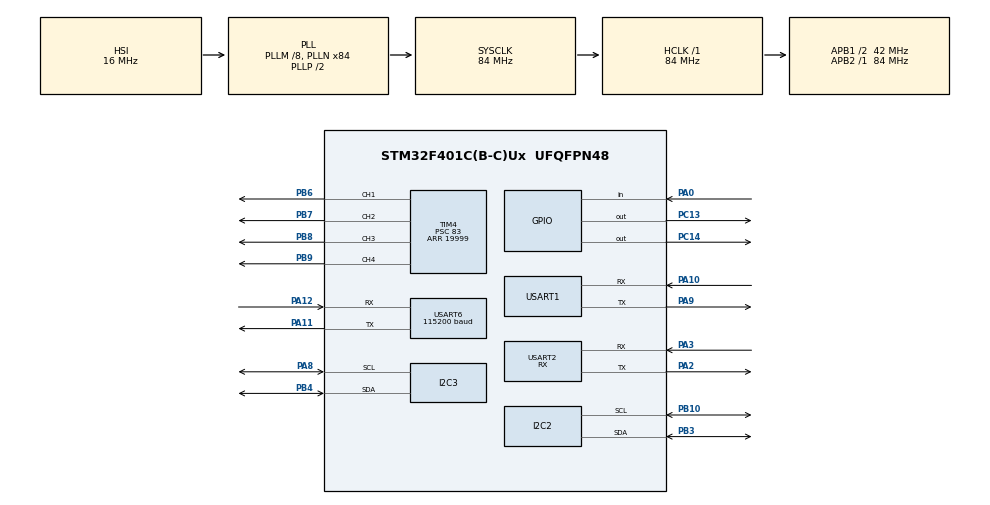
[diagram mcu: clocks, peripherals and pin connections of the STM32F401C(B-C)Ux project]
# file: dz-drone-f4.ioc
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Dma.Request0=USART2_RX
Dma.USART2_RX.0.Direction=DMA_PERIPH_TO_MEMORY
Dma.USART2_RX.0.FIFOMode=DMA_FIFOMODE_DISABLE
Dma.USART2_RX.0.Instance=DMA1_Stream5
Dma.USART2_RX.0.MemDataAlignment=DMA_MDATAALIGN_BYTE
Dma.USART2_RX.0.MemInc=DMA_MINC_ENABLE
Dma.USART2_RX.0.Mode=DMA_CIRCULAR
Dma.USART2_RX.0.PeriphDataAlignment=DMA_PDATAALIGN_BYTE
Dma.USART2_RX.0.PeriphInc=DMA_PINC_DISABLE
Dma.USART2_RX.0.Priority=DMA_PRIORITY_HIGH
I2C2.I2C_Mode=I2C_Fast
Mcu.Family=STM32F4
Mcu.Name=STM32F401C(B-C)Ux
Mcu.Package=UFQFPN48
NVIC.DMA1_Stream5_IRQn=true\:0\:0\:false\:false\:true\:false\:true
NVIC.PriorityGroup=NVIC_PRIORITYGROUP_4
NVIC.TIM1_UP_TIM10_IRQn=true\:15\:0\:false\:false\:true\:false\:true
NVIC.USART2_IRQn=true\:0\:0\:false\:false\:true\:true\:true
PA0-WKUP.Signal=GPIO_Input
PA10.Mode=Asynchronous
PA10.Signal=USART1_RX
PA11.Mode=Asynchronous
PA11.Signal=USART6_TX
PA12.Mode=Asynchronous
PA12.Signal=USART6_RX
PA13.Mode=Serial_Wire
PA13.Signal=SYS_JTMS-SWDIO
PA14.Mode=Serial_Wire
PA14.Signal=SYS_JTCK-SWCLK
PA2.Mode=Asynchronous
PA2.Signal=USART2_TX
PA3.Mode=Asynchronous
PA3.Signal=USART2_RX
PA8.Mode=I2C
PA8.Signal=I2C3_SCL
PA9.Mode=Asynchronous
PA9.Signal=USART1_TX
PB10.GPIO_Pu=GPIO_PULLUP
PB10.Mode=I2C
PB10.Signal=I2C2_SCL
PB3.GPIO_Pu=GPIO_PULLUP
PB3.Mode=I2C
PB3.Signal=I2C2_SDA
PB4.Mode=I2C
PB4.Signal=I2C3_SDA
PB6.Signal=S_TIM4_CH1
PB7.Signal=S_TIM4_CH2
PB8.Signal=S_TIM4_CH3
PB9.Signal=S_TIM4_CH4
PC13-ANTI_TAMP.PinState=GPIO_PIN_RESET
PC13-ANTI_TAMP.Signal=GPIO_Output
PC14-OSC32_IN.Signal=GPIO_Output
PH0\ -\ OSC_IN.Mode=HSE-External-Oscillator
PH0\ -\ OSC_IN.Signal=RCC_OSC_IN
PH1\ -\ OSC_OUT.Mode=HSE-External-Oscillator
PH1\ -\ OSC_OUT.Signal=RCC_OSC_OUT
ProjectManager.HeapSize=0x200
ProjectManager.StackSize=0x400
ProjectManager.TargetToolchain=STM32CubeIDE
RCC.48MHZClocksFreq_Value=42000000
RCC.AHBFreq_Value=84000000
RCC.APB1CLKDivider=RCC_HCLK_DIV2
RCC.APB1Freq_Value=42000000
RCC.APB1TimFreq_Value=84000000
RCC.APB2Freq_Value=84000000
RCC.APB2TimFreq_Value=84000000
RCC.CortexFreq_Value=84000000
RCC.HCLKFreq_Value=84000000
RCC.HSE_VALUE=25000000
RCC.HSI_VALUE=16000000
RCC.LSE_VALUE=32768
RCC.PLLM=8
RCC.PLLN=84
RCC.SYSCLKFreq_VALUE=84000000
RCC.SYSCLKSource=RCC_SYSCLKSOURCE_PLLCLK
RCC.VCOOutputFreq_Value=168000000
SH.S_TIM4_CH1.0=TIM4_CH1,PWM Generation1 CH1
SH.S_TIM4_CH2.0=TIM4_CH2,PWM Generation2 CH2
SH.S_TIM4_CH3.0=TIM4_CH3,PWM Generation3 CH3
SH.S_TIM4_CH4.0=TIM4_CH4,PWM Generation4 CH4
TIM10.Period=839
TIM10.Prescaler=999
TIM4.Channel-PWM\ Generation1\ CH1=TIM_CHANNEL_1
TIM4.Channel-PWM\ Generation2\ CH2=TIM_CHANNEL_2
TIM4.Channel-PWM\ Generation3\ CH3=TIM_CHANNEL_3
TIM4.Channel-PWM\ Generation4\ CH4=TIM_CHANNEL_4
TIM4.Period=19999
TIM4.Prescaler=83
USART1.VirtualMode=VM_ASYNC
USART2.Mode=MODE_RX
USART2.VirtualMode=VM_ASYNC
USART6.BaudRate=115200
USART6.VirtualMode=VM_ASYNC
VP_TIM10_VS_ClockSourceINT.Mode=Enable_Timer
board=custom

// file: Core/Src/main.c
/* USER CODE BEGIN Header */
/**
 ******************************************************************************
 * @file           : main.c
 * @brief          : Main program body
 ******************************************************************************
 * @attention
 *
 * Copyright (c) 2022 STMicroelectronics.
 * All rights reserved.
 *
 * This software is licensed under terms that can be found in the LICENSE file
 * in the root directory of this software component.
 * If no LICENSE file comes with this software, it is provided AS-IS.
 *
 ******************************************************************************
 */

/* USER CODE END Header */
#include "main.h"

/* USER CODE BEGIN Includes */
#include "stdbool.h"
#include "ibus.h"
#include "motor.h"
#include "bno055_stm32.h"
#include "math.h"
#include "dz_pid.h"
#include "bmp388.h"
#include "string.h"
/* USER CODE END Includes */

/* USER CODE BEGIN PD */
#define IBUS_PORT (&huart1)
/* USER CODE END PD */

I2C_HandleTypeDef hi2c2;
I2C_HandleTypeDef hi2c3;

TIM_HandleTypeDef htim4;
TIM_HandleTypeDef htim10;

UART_HandleTypeDef huart1;
UART_HandleTypeDef huart2;
UART_HandleTypeDef huart6;
DMA_HandleTypeDef hdma_usart2_rx;

/* USER CODE BEGIN PV */

uint16_t rcData[16];
uint8_t rxJetson[10], rxAutonom[10];
struct motors motors;
int16_t yaw, pitch, roll, throttle, thr = 1100;
int16_t gyro, acc, mag;
int16_t rc_yaw, rc_pitch, rc_roll;
bno055_vector_t BNO55_str;
bno055_calibration_state_t bno_state;
bno055_calibration_data_t bno_data;
char controlData[30], rxData[30];
double rc_pid = 0;
int16_t yaw_ref, pitch_ref, roll_ref;
int32_t deneme = 0;
int16_t yaw_pid, roll_pid, pitch_pid, thr_pid;
BMP388_t bmpdata;
int16_t yaw_temp;
bool isAutonom = false;
int16_t rise;
/* USER CODE END PV */

void SystemClock_Config(void);
static void MX_GPIO_Init(void);
static void MX_USART2_UART_Init(void);
static void MX_TIM4_Init(void);
static void MX_I2C2_Init(void);
static void MX_USART6_UART_Init(void);
static void MX_TIM10_Init(void);
static void MX_I2C3_Init(void);
static void MX_DMA_Init(void);
static void MX_USART1_UART_Init(void);
/* USER CODE BEGIN PFP */

uint16_t map(uint16_t x, uint16_t in_min, uint16_t in_max, uint16_t out_min,
		uint16_t out_max) {
	return (x - in_min) * (out_max - out_min) / (in_max - in_min) + out_min;
}

void ledOn() {
	HAL_GPIO_WritePin(GPIOC, GPIO_PIN_13, ENABLE);
}

void ledOff() {
	HAL_GPIO_WritePin(GPIOC, GPIO_PIN_13, RESET);
}

void ledOnBlue() {
	HAL_GPIO_WritePin(GPIOC, GPIO_PIN_14, ENABLE);

}

void ledOffBlue() {
	HAL_GPIO_WritePin(GPIOC, GPIO_PIN_14, RESET);

}

void yawCalculate(int16_t *yaw) {
	*yaw = *yaw % 360;

	if (*yaw > 180) {
		*yaw -= 360;
	} else if (*yaw < -180) {
		*yaw += 360;
	}
}

void escCalibration() {

	while (1) {
		ibus_read(IBUS_PORT, rcData);

		if (rcData[3] > 1800) {
			ledOn();
		} else {
			ledOff();
		}

		motors.motor1 = rcData[3];
		motors.motor2 = rcData[3];
		motors.motor3 = rcData[3];
		motors.motor4 = rcData[3];

		if ((rcData[0] != FAILSAFE_OFF)) {
			motors.motor1 = 1000;
			motors.motor2 = 1000;
			motors.motor3 = 1000;
			motors.motor4 = 1000;
		}

		motor_Write(&motors);

		HAL_Delay(20);
	}

}

/* USER CODE END PFP */

int main(void)
{

  /* MCU Configuration--------------------------------------------------------*/

  /* Reset of all peripherals, Initializes the Flash interface and the Systick. */

	HAL_Init();

  /* Configure the system clock */
  SystemClock_Config();

  /* Initialize all configured peripherals */
  MX_GPIO_Init();
  MX_DMA_Init();

  MX_USART2_UART_Init();
  MX_TIM4_Init();
  MX_I2C2_Init();
  MX_USART6_UART_Init();
  MX_TIM10_Init();
  MX_I2C3_Init();
  MX_USART1_UART_Init();
  /* USER CODE BEGIN 2 */
	// yukarıdaki alanda cubemx önce usart2'yi init ediyor sonra dma'yı init ediyordu bu yanlış.
	// doğrusu benim kullandığım olacak.

	HAL_UART_Receive_DMA(&huart2, rxJetson, 10);

	motors.timx = &htim4;
	motor_Init(&motors);

	while (BMP388_init()) {
		HAL_GPIO_WritePin(GPIOC, GPIO_PIN_14, RESET);

		HAL_Delay(300);

		HAL_GPIO_WritePin(GPIOC, GPIO_PIN_14, ENABLE);

		HAL_Delay(300);
	}

	bno055_assignI2C(&hi2c2);

	while (bno055_setup()) {

		ledOff();
		HAL_Delay(200);
		ledOn();
		HAL_Delay(200);

	}

	bno055_enableExternalCrystal();
	bno055_opmode_t moded;
	moded = bno055_getOperationMode();
	moded = BNO055_OPERATION_MODE_NDOF;
	bno055_setOperationMode(moded);
	moded = bno055_getOperationMode();

	while (1) {
		bno_state = bno055_getCalibrationState();
		if (bno_state.gyro >= 3 & bno_state.gyro < 5) { // mag >=2
			if (bno_state.mag >= 3) {
				break;
			}
			ledOnBlue();
			HAL_Delay(1000);
		}

		HAL_Delay(1000);
	}

	ledOn();
	HAL_Delay(5000);
	ledOff();
	ledOffBlue();

	for (uint8_t var = 0; var < 20; ++var) {
		BNO55_str = bno055_getVectorEuler();
		roll_ref = BNO55_str.y;
		pitch_ref = BNO55_str.z;
		yaw_ref = BNO55_str.x;
		yawCalculate(&yaw_ref);
		HAL_Delay(100);
	}

  /* USER CODE END 2 */

  /* Infinite loop */
  /* USER CODE BEGIN WHILE */
	while (1) {

		ibus_read(IBUS_PORT, rcData);
		throttle = rcData[3];

		if ((rcData[7] > 1600) && (rcData[7] < 2100)) {
			isAutonom = true;
			rise = throttle - 1000;
		} else {
			isAutonom = false;
		}

		rc_roll = (1500 - rcData[1]) / 25;

		rc_pitch = ((1500 - rcData[2]) / 25) * -1;

		rc_yaw = (int16_t) ((1500 - rcData[4]) / 5);
		rc_yaw *= -1;

		BNO55_str = bno055_getVectorEuler();
		yaw = ((int16_t) BNO55_str.x) - yaw_ref;
		yawCalculate(&yaw);
		roll = (int16_t) BNO55_str.y - roll_ref;
		pitch = (int16_t) BNO55_str.z - pitch_ref;

		//BMP388_Read(&bmpdata);

		sprintf(controlData, "dz-%d-%d-%d-%d-%d-%d-son \n", rc_pitch, pitch, rc_roll, roll,rc_yaw,yaw);
		//sprintf(controlData, "dz-%d-son\n", rc_pitch);s
		HAL_UART_Transmit(&huart6, controlData, 30, 10);

		if ((rcData[0] != FAILSAFE_OFF) | (throttle < 1100)) {
			HAL_TIM_Base_Stop_IT(&htim10);
			pidRollReset();
			pidPitchReset();
			pidYawReset();
			pidThrottleReset();
			motors.motor1 = 1000;
			motors.motor2 = 1000;
			motors.motor3 = 1000;
			motors.motor4 = 1000;
			motor_Write(&motors);
			ledOff();
			ledOnBlue();
			MX_USART1_UART_Init();

			//HAL_GPIO_WritePin(GPIOC, GPIO_PIN_13, ENABLE);
		}

		else {
			HAL_TIM_Base_Start_IT(&htim10);
			ledOffBlue();

		}

    /* USER CODE END WHILE */

	}
}

void SystemClock_Config(void)
{
  RCC_OscInitTypeDef RCC_OscInitStruct = {0};
  RCC_ClkInitTypeDef RCC_ClkInitStruct = {0};

  /** Configure the main internal regulator output voltage
  */
  __HAL_RCC_PWR_CLK_ENABLE();
  __HAL_PWR_VOLTAGESCALING_CONFIG(PWR_REGULATOR_VOLTAGE_SCALE2);
  /** Initializes the RCC Oscillators according to the specified parameters
  * in the RCC_OscInitTypeDef structure.
  */
  RCC_OscInitStruct.OscillatorType = RCC_OSCILLATORTYPE_HSI;
  RCC_OscInitStruct.HSIState = RCC_HSI_ON;
  RCC_OscInitStruct.HSICalibrationValue = RCC_HSICALIBRATION_DEFAULT;
  RCC_OscInitStruct.PLL.PLLState = RCC_PLL_ON;
  RCC_OscInitStruct.PLL.PLLSource = RCC_PLLSOURCE_HSI;
  RCC_OscInitStruct.PLL.PLLM = 8;
  RCC_OscInitStruct.PLL.PLLN = 84;
  RCC_OscInitStruct.PLL.PLLP = RCC_PLLP_DIV2;
  RCC_OscInitStruct.PLL.PLLQ = 4;
  if (HAL_RCC_OscConfig(&RCC_OscInitStruct) != HAL_OK)
  {
    Error_Handler();
  }
  /** Initializes the CPU, AHB and APB buses clocks
  */
  RCC_ClkInitStruct.ClockType = RCC_CLOCKTYPE_HCLK|RCC_CLOCKTYPE_SYSCLK
                              |RCC_CLOCKTYPE_PCLK1|RCC_CLOCKTYPE_PCLK2;
  RCC_ClkInitStruct.SYSCLKSource = RCC_SYSCLKSOURCE_PLLCLK;
  RCC_ClkInitStruct.AHBCLKDivider = RCC_SYSCLK_DIV1;
  RCC_ClkInitStruct.APB1CLKDivider = RCC_HCLK_DIV2;
  RCC_ClkInitStruct.APB2CLKDivider = RCC_HCLK_DIV1;

  if (HAL_RCC_ClockConfig(&RCC_ClkInitStruct, FLASH_LATENCY_2) != HAL_OK)
  {
    Error_Handler();
  }
}

static void MX_I2C2_Init(void)
{

  hi2c2.Instance = I2C2;
  hi2c2.Init.ClockSpeed = 400000;
  hi2c2.Init.DutyCycle = I2C_DUTYCYCLE_2;
  hi2c2.Init.OwnAddress1 = 0;
  hi2c2.Init.AddressingMode = I2C_ADDRESSINGMODE_7BIT;
  hi2c2.Init.DualAddressMode = I2C_DUALADDRESS_DISABLE;
  hi2c2.Init.OwnAddress2 = 0;
  hi2c2.Init.GeneralCallMode = I2C_GENERALCALL_DISABLE;
  hi2c2.Init.NoStretchMode = I2C_NOSTRETCH_DISABLE;
  if (HAL_I2C_Init(&hi2c2) != HAL_OK)
  {
    Error_Handler();
  }

}

static void MX_I2C3_Init(void)
{

  hi2c3.Instance = I2C3;
  hi2c3.Init.ClockSpeed = 100000;
  hi2c3.Init.DutyCycle = I2C_DUTYCYCLE_2;
  hi2c3.Init.OwnAddress1 = 0;
  hi2c3.Init.AddressingMode = I2C_ADDRESSINGMODE_7BIT;
  hi2c3.Init.DualAddressMode = I2C_DUALADDRESS_DISABLE;
  hi2c3.Init.OwnAddress2 = 0;
  hi2c3.Init.GeneralCallMode = I2C_GENERALCALL_DISABLE;
  hi2c3.Init.NoStretchMode = I2C_NOSTRETCH_DISABLE;
  if (HAL_I2C_Init(&hi2c3) != HAL_OK)
  {
    Error_Handler();
  }

}

static void MX_TIM4_Init(void)
{

  TIM_MasterConfigTypeDef sMasterConfig = {0};
  TIM_OC_InitTypeDef sConfigOC = {0};

  htim4.Instance = TIM4;
  htim4.Init.Prescaler = 83;
  htim4.Init.CounterMode = TIM_COUNTERMODE_UP;
  htim4.Init.Period = 19999;
  htim4.Init.ClockDivision = TIM_CLOCKDIVISION_DIV1;
  htim4.Init.AutoReloadPreload = TIM_AUTORELOAD_PRELOAD_DISABLE;
  if (HAL_TIM_PWM_Init(&htim4) != HAL_OK)
  {
    Error_Handler();
  }
  sMasterConfig.MasterOutputTrigger = TIM_TRGO_RESET;
  sMasterConfig.MasterSlaveMode = TIM_MASTERSLAVEMODE_DISABLE;
  if (HAL_TIMEx_MasterConfigSynchronization(&htim4, &sMasterConfig) != HAL_OK)
  {
    Error_Handler();
  }
  sConfigOC.OCMode = TIM_OCMODE_PWM1;
  sConfigOC.Pulse = 0;
  sConfigOC.OCPolarity = TIM_OCPOLARITY_HIGH;
  sConfigOC.OCFastMode = TIM_OCFAST_DISABLE;
  if (HAL_TIM_PWM_ConfigChannel(&htim4, &sConfigOC, TIM_CHANNEL_1) != HAL_OK)
  {
    Error_Handler();
  }
  if (HAL_TIM_PWM_ConfigChannel(&htim4, &sConfigOC, TIM_CHANNEL_2) != HAL_OK)
  {
    Error_Handler();
  }
  if (HAL_TIM_PWM_ConfigChannel(&htim4, &sConfigOC, TIM_CHANNEL_3) != HAL_OK)
  {
    Error_Handler();
  }
  if (HAL_TIM_PWM_ConfigChannel(&htim4, &sConfigOC, TIM_CHANNEL_4) != HAL_OK)
  {
    Error_Handler();
  }
  HAL_TIM_MspPostInit(&htim4);

}

static void MX_TIM10_Init(void)
{

  htim10.Instance = TIM10;
  htim10.Init.Prescaler = 999;
  htim10.Init.CounterMode = TIM_COUNTERMODE_UP;
  htim10.Init.Period = 839;
  htim10.Init.ClockDivision = TIM_CLOCKDIVISION_DIV1;
  htim10.Init.AutoReloadPreload = TIM_AUTORELOAD_PRELOAD_DISABLE;
  if (HAL_TIM_Base_Init(&htim10) != HAL_OK)
  {
    Error_Handler();
  }

}

static void MX_USART1_UART_Init(void)
{

  huart1.Instance = USART1;
  huart1.Init.BaudRate = 115200;
  huart1.Init.WordLength = UART_WORDLENGTH_8B;
  huart1.Init.StopBits = UART_STOPBITS_1;
  huart1.Init.Parity = UART_PARITY_NONE;
  huart1.Init.Mode = UART_MODE_TX_RX;
  huart1.Init.HwFlowCtl = UART_HWCONTROL_NONE;
  huart1.Init.OverSampling = UART_OVERSAMPLING_16;
  if (HAL_UART_Init(&huart1) != HAL_OK)
  {
    Error_Handler();
  }

}

static void MX_USART2_UART_Init(void)
{

  huart2.Instance = USART2;
  huart2.Init.BaudRate = 115200;
  huart2.Init.WordLength = UART_WORDLENGTH_8B;
  huart2.Init.StopBits = UART_STOPBITS_1;
  huart2.Init.Parity = UART_PARITY_NONE;
  huart2.Init.Mode = UART_MODE_RX;
  huart2.Init.HwFlowCtl = UART_HWCONTROL_NONE;
  huart2.Init.OverSampling = UART_OVERSAMPLING_16;
  if (HAL_UART_Init(&huart2) != HAL_OK)
  {
    Error_Handler();
  }

}

static void MX_USART6_UART_Init(void)
{

  huart6.Instance = USART6;
  huart6.Init.BaudRate = 115200;
  huart6.Init.WordLength = UART_WORDLENGTH_8B;
  huart6.Init.StopBits = UART_STOPBITS_1;
  huart6.Init.Parity = UART_PARITY_NONE;
  huart6.Init.Mode = UART_MODE_TX_RX;
  huart6.Init.HwFlowCtl = UART_HWCONTROL_NONE;
  huart6.Init.OverSampling = UART_OVERSAMPLING_16;
  if (HAL_UART_Init(&huart6) != HAL_OK)
  {
    Error_Handler();
  }

}

static void MX_DMA_Init(void)
{

  /* DMA controller clock enable */
  __HAL_RCC_DMA1_CLK_ENABLE();

  /* DMA interrupt init */
  /* DMA1_Stream5_IRQn interrupt configuration */
  HAL_NVIC_SetPriority(DMA1_Stream5_IRQn, 0, 0);
  HAL_NVIC_EnableIRQ(DMA1_Stream5_IRQn);

}

static void MX_GPIO_Init(void)
{
  GPIO_InitTypeDef GPIO_InitStruct = {0};

  /* GPIO Ports Clock Enable */
  __HAL_RCC_GPIOC_CLK_ENABLE();
  __HAL_RCC_GPIOH_CLK_ENABLE();
  __HAL_RCC_GPIOA_CLK_ENABLE();
  __HAL_RCC_GPIOB_CLK_ENABLE();

  /*Configure GPIO pin Output Level */
  HAL_GPIO_WritePin(GPIOC, GPIO_PIN_13|GPIO_PIN_14, GPIO_PIN_RESET);

  /*Configure GPIO pins : PC13 PC14 */
  GPIO_InitStruct.Pin = GPIO_PIN_13|GPIO_PIN_14;
  GPIO_InitStruct.Mode = GPIO_MODE_OUTPUT_PP;
  GPIO_InitStruct.Pull = GPIO_NOPULL;
  GPIO_InitStruct.Speed = GPIO_SPEED_FREQ_LOW;
  HAL_GPIO_Init(GPIOC, &GPIO_InitStruct);

  /*Configure GPIO pin : PA0 */
  GPIO_InitStruct.Pin = GPIO_PIN_0;
  GPIO_InitStruct.Mode = GPIO_MODE_INPUT;
  GPIO_InitStruct.Pull = GPIO_NOPULL;
  HAL_GPIO_Init(GPIOA, &GPIO_InitStruct);

}

/* USER CODE BEGIN 4 */

void HAL_TIM_PeriodElapsedCallback(TIM_HandleTypeDef *htim) {

	if (htim->Instance == htim10.Instance) {

		ledOn();
		roll_pid = pidRollCalculate(rc_roll, roll);
		pitch_pid = pidPitchCalculate(rc_pitch, pitch);
		yaw_pid = pidYawCalculate(rc_yaw, yaw);
		yaw_pid *= -1;

		if (isAutonom == true) {
			thr_pid = pidThrottleCalculate(rise, bmpdata.Altitude);
			thr += thr_pid;

			//throttle = thr;
		}

		motors.motor1 = (int) (throttle - pitch_pid + roll_pid - yaw_pid);
		motors.motor2 = (int) (throttle - pitch_pid - roll_pid + yaw_pid);
		motors.motor3 = (int) (throttle + pitch_pid - roll_pid - yaw_pid);
		motors.motor4 = (int) (throttle + pitch_pid + roll_pid + yaw_pid);

		if (motors.motor1 > 1800) {
			motors.motor1 = 1800;
		}
		if (motors.motor1 < 1100) {
			motors.motor1 = 1100;
		}

		if (motors.motor2 > 1800) {
			motors.motor2 = 1800;
		}
		if (motors.motor2 < 1100) {
			motors.motor2 = 1100;
		}
		if (motors.motor3 > 1800) {
			motors.motor3 = 1800;
		}
		if (motors.motor3 < 1100) {
			motors.motor3 = 1100;
		}
		if (motors.motor4 > 1800) {
			motors.motor4 = 1800;
		}
		if (motors.motor4 < 1100) {
			motors.motor4 = 1100;
		}
		//HAL_GPIO_WritePin(GPIOC, GPIO_PIN_13, RESET);
		motor_Write(&motors);

	}
}

void HAL_UART_RxHalfCpltCallback(UART_HandleTypeDef *huart) {
	deneme += 1;
}

void HAL_UART_RxCpltCallback(UART_HandleTypeDef *huart) {
	uint8_t data1, data2;
	uint16_t data;
	/*
	if((rxJetson[0] == 'd') && rxJetson[1] == 'z' ){
		if(rxJetson[2] == 'p'){
			data1 = stoi(rxJetson[3]);
			data2 = stoi(rxJetson[4]);
			data = data1*10 + data2;
			pidChange_KP(PITCH_ID, data);
			data1 = stoi(rxJetson[5]);
			data2 = stoi(rxJetson[6]);
			data = data1*10 + data2;
			pidChange_KI(PITCH_ID, data);
			data1 = stoi(rxJetson[7]);
			data2 = stoi(rxJetson[8]);
			data = data1*10 + data2;
			pidChange_KD(PITCH_ID, data);
		}
		else if(rxJetson[2] == 'r'){
			data1 = stoi(rxJetson[3]);
			data2 = stoi(rxJetson[4]);
			data = data1*10 + data2;
			pidChange_KP(ROLL_ID, data);
			data1 = stoi(rxJetson[5]);
			data2 = stoi(rxJetson[6]);
			data = data1*10 + data2;
			pidChange_KI(ROLL_ID, data);
			data1 = stoi(rxJetson[7]);
			data2 = stoi(rxJetson[8]);
			data = data1*10 + data2;
			pidChange_KD(ROLL_ID, data);
		}
		else {
			data1 = stoi(rxJetson[3]);
			data2 = stoi(rxJetson[4]);
			data = data1*10 + data2;
			pidChange_KP(YAW_ID, data);
			data1 = stoi(rxJetson[5]);
			data2 = stoi(rxJetson[6]);
			data = data1*10 + data2;
			pidChange_KI(YAW_ID, data);
			data1 = stoi(rxJetson[7]);
			data2 = stoi(rxJetson[8]);
			data = data1*10 + data2;
			pidChange_KD(YAW_ID, data);
		}

	}*/
	HAL_UART_Receive_DMA(&huart2, rxJetson, 10);

}

/* USER CODE END 4 */

void Error_Handler(void)
{
	__disable_irq();
	while (1) {
	}
}
